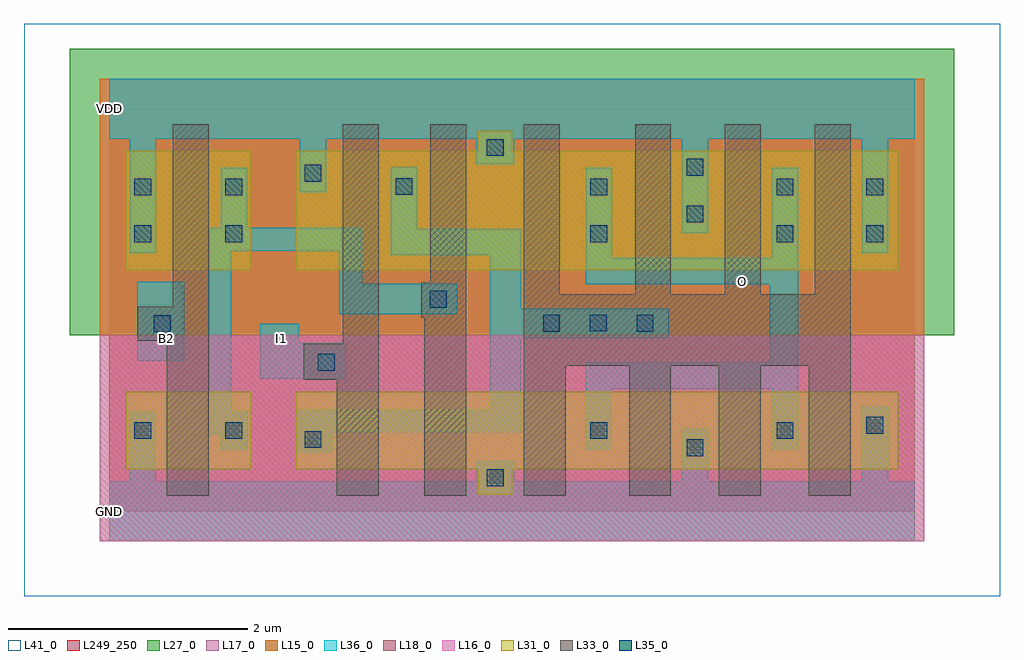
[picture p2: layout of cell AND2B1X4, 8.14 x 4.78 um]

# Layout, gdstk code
import gdstk
lib = gdstk.Library(unit=1e-6, precision=1e-09)
def R(c, l, rs):  # rectangles x0, y0, x1, y1
    for r in rs: c.add(gdstk.rectangle(r[:2], r[2:], *l))
def P(c, l, *ps):  # polygons
    for p in ps: c.add(gdstk.Polygon(p, *l))
L15_0 = (15, 0)
L16_0 = (16, 0)
L17_0 = (17, 0)
L18_0 = (18, 0)
L27_0 = (27, 0)
L31_0 = (31, 0)
L33_0 = (33, 0)
L35_0 = (35, 0)
L36_0 = (36, 0)
L41_0 = (41, 0)
L249_250 = (249, 250)

and2b1x4 = lib.new_cell('AND2B1X4')
R(and2b1x4, L15_0, [(-0.08,1.47,6.8,3.61)])
R(and2b1x4, L16_0, [(-0.08,-0.25,6.8,1.47)])
R(and2b1x4, L17_0, [(-0.08,1.47,6.8,3.61)])
R(and2b1x4, L18_0, [(-0.08,-0.25,6.8,1.47)])
R(and2b1x4, L27_0, [(-0.33,1.47,7.05,3.86)])
R(and2b1x4, L31_0, [(0.14,0.35,1.18,1), (0.14,2.01,1.18,3.01)])
P(and2b1x4, L31_0, [(1.56,2.01),(1.56,3.01),(3.08,3.01),(3.08,3.175),(3.36,3.175),(3.36,3.01),(6.58,3.01),(6.58,2.01)],
  [(3.08,0.14),(3.08,0.35),(1.56,0.35),(1.56,1),(6.58,1),(6.58,0.35),(3.36,0.35),(3.36,0.14)])
P(and2b1x4, L33_0, [(0.48,0.13),(0.48,1.425),(0.239,1.425),(0.239,1.706),(0.53,1.706),(0.53,3.23),(0.83,3.23),(0.83,0.13)],
  [(1.9,0.13),(1.9,1.1),(1.622,1.1),(1.622,1.4),(1.95,1.4),(1.95,3.23),(2.25,3.23),(2.25,0.13)],
  [(2.63,0.13),(2.63,1.617),(2.604,1.617),(2.604,1.91),(2.68,1.91),(2.68,3.23),(2.98,3.23),(2.98,0.13)],
  [(3.46,0.13),(3.46,3.23),(3.76,3.23),(3.76,1.813),(4.386,1.813),(4.386,3.23),(4.686,3.23),(4.686,1.813),(5.136,1.813),(5.136,3.23),(5.436,3.23),(5.436,1.813),(5.886,1.813),(5.886,3.23),(6.186,3.23),(6.186,0.13),(5.836,0.13),(5.836,1.217),(5.436,1.217),(5.436,0.13),(5.086,0.13),(5.086,1.217),(4.686,1.217),(4.686,0.13),(4.336,0.13),(4.336,1.217),(3.81,1.217),(3.81,0.13)])
R(and2b1x4, L35_0, [(3.15,0.21,3.29,0.35), (4.816,0.462,4.956,0.602), (1.63,0.53,1.77,0.67), (0.21,0.605,0.35,0.745), (0.97,0.605,1.11,0.745), (4.014,0.605,4.154,0.745), (5.566,0.605,5.706,0.745), (6.316,0.648,6.456,0.788), (1.742,1.175,1.882,1.315), (0.374,1.496,0.514,1.636), (3.62,1.499,3.76,1.639), (4.4,1.5,4.54,1.64), (4.01,1.501,4.15,1.641), (2.674,1.7,2.814,1.84), (0.21,2.245,0.35,2.385), (0.97,2.245,1.11,2.385), (4.014,2.245,4.154,2.385), (5.566,2.245,5.706,2.385), (6.316,2.245,6.456,2.385), (4.816,2.41,4.956,2.55), (0.21,2.635,0.35,2.775), (0.97,2.635,1.11,2.775), (4.014,2.635,4.154,2.775), (5.566,2.635,5.706,2.775), (6.316,2.635,6.456,2.775), (2.39,2.64,2.53,2.78), (1.63,2.75,1.77,2.89), (4.816,2.8,4.956,2.94), (3.15,2.965,3.29,3.105)])
R(and2b1x4, L36_0, [(0.234,1.256,0.626,1.915)])
P(and2b1x4, L36_0, [(0,-0.25),(0,0.25),(0.17,0.25),(0.17,0.835),(0.39,0.835),(0.39,0.25),(3.06,0.25),(3.06,0.42),(3.38,0.42),(3.38,0.25),(4.776,0.25),(4.776,0.692),(4.996,0.692),(4.996,0.25),(6.276,0.25),(6.276,0.878),(6.496,0.878),(6.496,0.25),(6.72,0.25),(6.72,-0.25)],
  [(1.56,0.49),(1.56,0.85),(3.18,0.85),(3.18,2.137),(2.35,2.137),(2.35,2.87),(2.57,2.87),(2.57,2.357),(3.435,2.357),(3.435,2.138),(3.434,2.138),(3.434,1.689),(4.667,1.689),(4.667,1.443),(3.434,1.443),(3.434,0.66),(1.86,0.66),(1.86,0.49)],
  [(0.93,0.515),(0.93,0.645),(0.83,0.645),(0.83,2.365),(0.93,2.365),(0.93,2.865),(1.15,2.865),(1.15,2.365),(2.11,2.365),(2.11,1.897),(2.904,1.897),(2.904,1.644),(1.92,1.644),(1.92,2.175),(1.02,2.175),(1.02,0.835),(1.15,0.835),(1.15,0.515)],
  [(3.974,0.515),(3.974,1.243),(5.508,1.243),(5.508,1.896),(3.974,1.896),(3.974,2.865),(4.194,2.865),(4.194,2.116),(5.526,2.116),(5.526,2.865),(5.746,2.865),(5.746,0.515),(5.526,0.515),(5.526,1.023),(4.194,1.023),(4.194,0.515)],
  [(1.26,1.105),(1.26,1.566),(1.58,1.566),(1.58,1.405),(1.972,1.405),(1.972,1.105)],
  [(0.17,2.155),(0.17,3.11),(0,3.11),(0,3.61),(6.72,3.61),(6.72,3.11),(6.496,3.11),(6.496,2.155),(6.276,2.155),(6.276,3.11),(4.996,3.11),(4.996,2.32),(4.776,2.32),(4.776,3.11),(3.38,3.11),(3.38,2.895),(3.06,2.895),(3.06,3.11),(1.81,3.11),(1.81,2.66),(1.59,2.66),(1.59,3.11),(0.39,3.11),(0.39,2.155)])
R(and2b1x4, L41_0, [(-0.71,-0.708,7.43,4.068)])
R(and2b1x4, L249_250, [(0,0,6.72,3.36)])
and2b1x4.add(gdstk.Label('I1', (1.44,1.44), layer=211, texttype=0))
and2b1x4.add(gdstk.Label('GND', (0,0), layer=211, texttype=0))
and2b1x4.add(gdstk.Label('VDD', (0,3.36), layer=211, texttype=0))
and2b1x4.add(gdstk.Label('B2', (0.48,1.44), layer=211, texttype=0))
and2b1x4.add(gdstk.Label('O', (5.28,1.92), layer=211, texttype=0))

lib.write_gds('AND2B1X4.gds')
